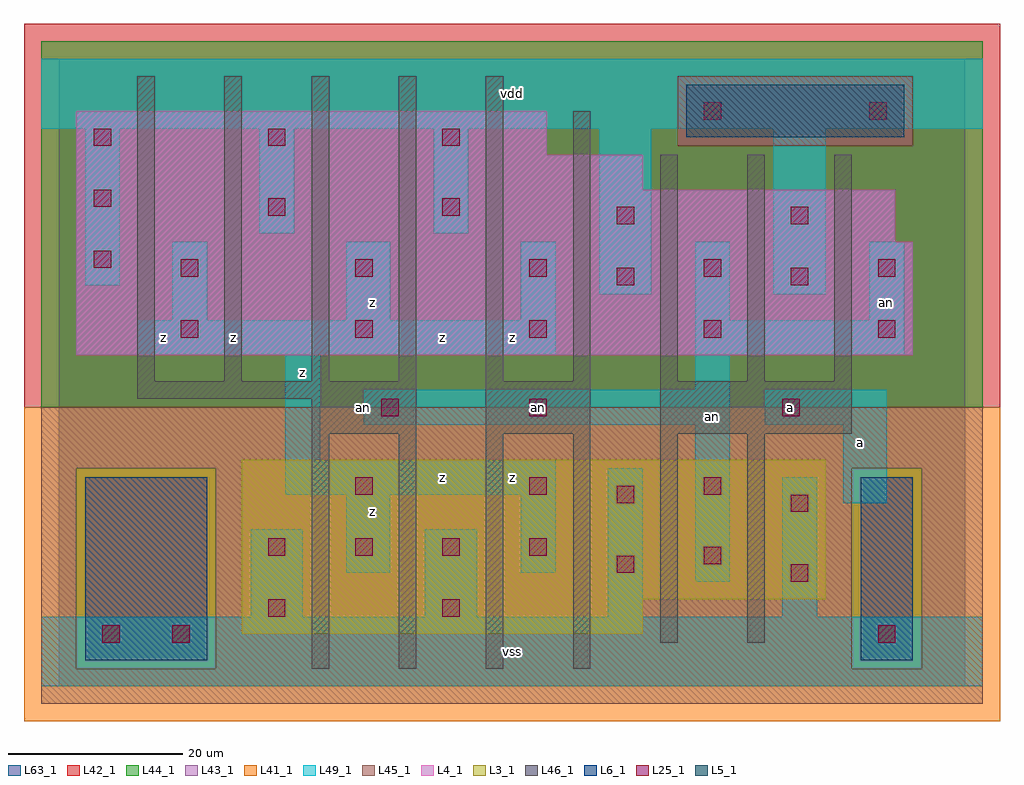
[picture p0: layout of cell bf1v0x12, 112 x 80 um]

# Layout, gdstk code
import gdstk
lib = gdstk.Library(unit=1e-6, precision=1e-09)
def R(c, l, rs):  # rectangles x0, y0, x1, y1
    for r in rs: c.add(gdstk.rectangle(r[:2], r[2:], *l))
def A(c, l, x, y, w, h, nx, ny, dx, dy):  # array of equal rectangles
    R(c, l, [(x+i*dx, y+j*dy, x+i*dx+w, y+j*dy+h) for i in range(nx) for j in range(ny)])
L3_1 = (3, 1)
L4_1 = (4, 1)
L5_1 = (5, 1)
L6_1 = (6, 1)
L25_1 = (25, 1)
L41_1 = (41, 1)
L42_1 = (42, 1)
L43_1 = (43, 1)
L44_1 = (44, 1)
L45_1 = (45, 1)
L46_1 = (46, 1)
L49_1 = (49, 1)
L63_1 = (63, 1)

bf1v0x12 = lib.new_cell('bf1v0x12')
R(bf1v0x12, L3_1, [(21,6,67,10), (21,10,88,26)])
R(bf1v0x12, L4_1, [(2,38,98,51), (2,51,96,57), (2,57,67,61), (2,61,56,66)])
R(bf1v0x12, L5_1, [(72,63,97,69)])
R(bf1v0x12, L6_1, [(3,3,17,24), (3,3,17,24), (92,3,98,24), (92,3,98,24)])
A(bf1v0x12, L25_1, 24, 15, 2, 2, 4, 1, 10, 0)
A(bf1v0x12, L25_1, 34, 22, 2, 2, 3, 1, 20, 0)
A(bf1v0x12, L25_1, 14, 40, 2, 2, 5, 2, 20, 7)
A(bf1v0x12, L25_1, 4, 62, 2, 2, 3, 1, 20, 0)
R(bf1v0x12, L25_1, [(5,5,7,7), (13,5,15,7), (94,5,96,7), (24,8,26,10), (44,8,46,10), (84,12,86,14), (64,13,66,15), (74,14,76,16), (84,20,86,22), (64,21,66,23), (37,31,39,33), (54,31,56,33), (83,31,85,33), (64,46,66,48), (84,46,86,48), (4,48,6,50), (64,53,66,55), (84,53,86,55), (24,54,26,56), (44,54,46,56), (4,55,6,57), (74,65,76,67), (93,65,95,67)])
R(bf1v0x12, L41_1, [(-4,-4,108,32)])
R(bf1v0x12, L42_1, [(-4,32,108,76)])
R(bf1v0x12, L43_1, [(3,3,17,24), (92,3,98,24), (21,6,67,10), (21,10,88,26), (2,38,98,51), (2,51,96,57), (2,57,67,61), (2,61,56,66), (72,63,97,69)])
R(bf1v0x12, L44_1, [(2,2,18,25), (91,2,99,25), (-2,32,106,62), (-2,62,71,70), (98,62,106,70), (-2,70,106,74)])
R(bf1v0x12, L45_1, [(-2,-2,106,2), (-2,2,2,25), (18,2,91,25), (99,2,106,25), (-2,25,106,32), (71,62,98,70)])
A(bf1v0x12, L46_1, 29, 2, 2, 27, 4, 1, 10, 0)
A(bf1v0x12, L46_1, 9, 35, 2, 35, 5, 1, 10, 0)
A(bf1v0x12, L46_1, 69, 35, 2, 26, 3, 1, 10, 0)
R(bf1v0x12, L46_1, [(69,5,71,29), (79,5,81,29), (29,29,41,33), (49,29,61,35), (69,29,91,35), (9,33,41,35), (59,35,61,66)])
A(bf1v0x12, L49_1, 53, 42, 4, 9, 3, 1, 20, 0)
R(bf1v0x12, L49_1, [(-2,0,106,8), (22,8,28,18), (42,8,48,18), (63,8,67,25), (83,8,87,24), (73,12,77,30), (33,13,38,22), (53,13,57,22), (90,21,95,30), (26,22,57,26), (26,26,30,38), (35,30,77,34), (81,30,95,34), (73,34,77,38), (9,38,57,42), (73,38,97,42), (13,42,17,51), (33,42,38,51), (62,45,68,64), (82,45,88,64), (3,46,7,64), (23,52,27,64), (43,52,47,64), (-2,64,106,72)])
R(bf1v0x12, L63_1, [(0,0,104,72)])
bf1v0x12.add(gdstk.Label('an', (35,32), layer=46, texttype=1))
bf1v0x12.add(gdstk.Label('an', (55,32), layer=49, texttype=1))
bf1v0x12.add(gdstk.Label('z', (12,40), layer=49, texttype=1))
bf1v0x12.add(gdstk.Label('z', (36,20), layer=49, texttype=1))
bf1v0x12.add(gdstk.Label('z', (20,40), layer=49, texttype=1))
bf1v0x12.add(gdstk.Label('z', (28,36), layer=49, texttype=1))
bf1v0x12.add(gdstk.Label('z', (36,44), layer=49, texttype=1))
bf1v0x12.add(gdstk.Label('vss', (52,4), layer=49, texttype=1))
bf1v0x12.add(gdstk.Label('z', (44,24), layer=49, texttype=1))
bf1v0x12.add(gdstk.Label('z', (52,24), layer=49, texttype=1))
bf1v0x12.add(gdstk.Label('z', (44,40), layer=49, texttype=1))
bf1v0x12.add(gdstk.Label('z', (52,40), layer=49, texttype=1))
bf1v0x12.add(gdstk.Label('vdd', (52,68), layer=49, texttype=1))
bf1v0x12.add(gdstk.Label('an', (56,32), layer=49, texttype=1))
bf1v0x12.add(gdstk.Label('an', (75,31), layer=49, texttype=1))
bf1v0x12.add(gdstk.Label('a', (92,28), layer=49, texttype=1))
bf1v0x12.add(gdstk.Label('a', (84,32), layer=49, texttype=1))
bf1v0x12.add(gdstk.Label('an', (95,44), layer=49, texttype=1))

lib.write_gds('bf1v0x12.gds')
